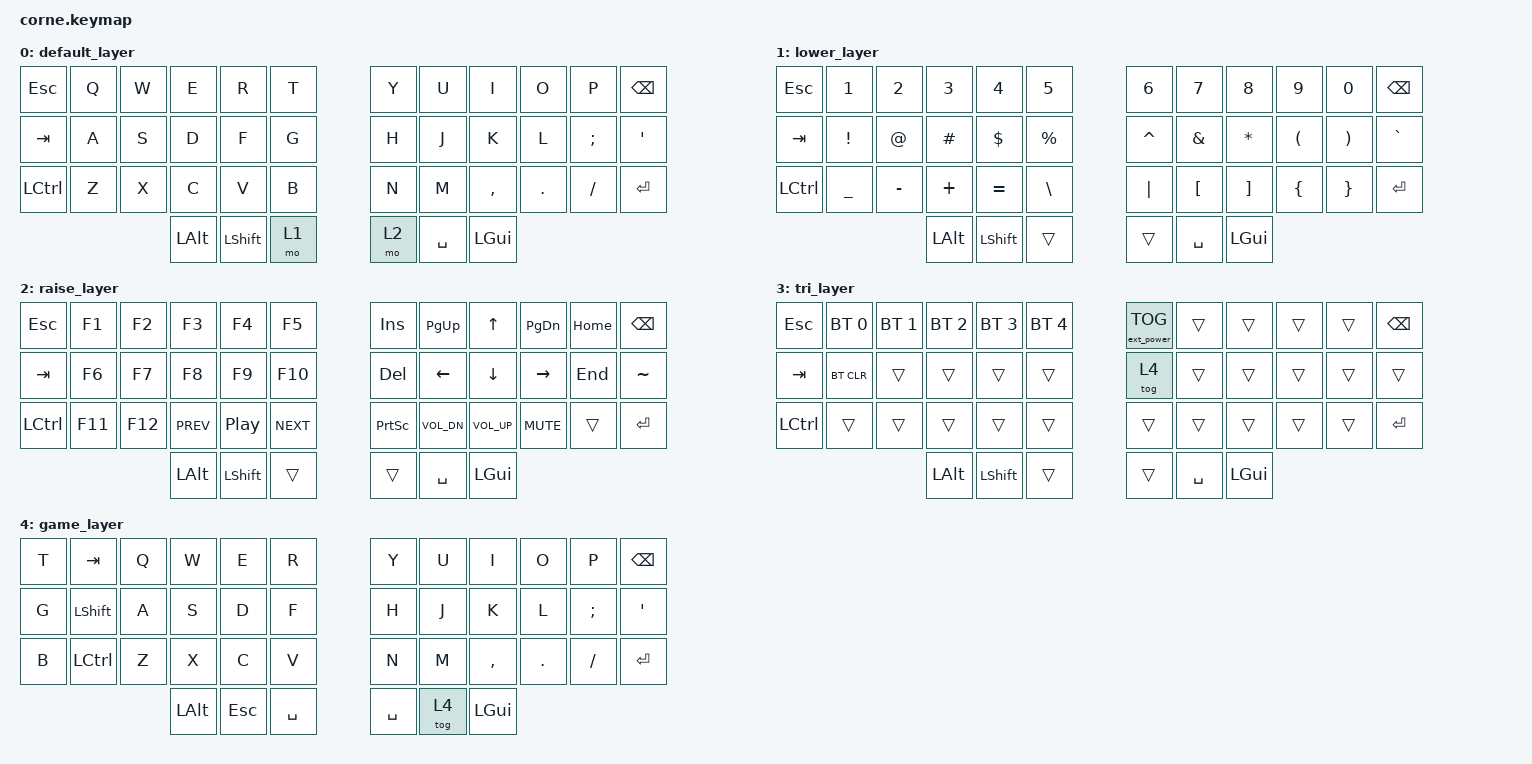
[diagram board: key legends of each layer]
/*
 * Copyright (c) 2020 The ZMK Contributors
 *
 * SPDX-License-Identifier: MIT
 */

#include <behaviors.dtsi>
#include <dt-bindings/zmk/keys.h>
#include <dt-bindings/zmk/bt.h>
#include <dt-bindings/zmk/ext_power.h>

/ {
        conditional_layers {
                compatible = "zmk,conditional-layers";
                tri_layer {
                        if-layers = <1 2>;
                        then-layer = <3>;
                };
        };
        keymap {
                compatible = "zmk,keymap";

                default_layer {
// -----------------------------------------------------------------------------------------
// | ESC |  Q  |  W  |  E  |  R  |  T  |   |  Y  |  U   |  I  |  O  |  P  | BSPC |
// | TAB |  A  |  S  |  D  |  F  |  G  |   |  H  |  J   |  K  |  L  |  ;  |  '   |
// | CTRL|  Z  |  X  |  C  |  V  |  B  |   |  N  |  M   |  ,  |  .  |  /  | ENT  |
//                    | GUI | LWR | SHFT|   | SPC | RSE  | ALT |
                        bindings = <
   &kp ESC   &kp Q &kp W &kp E &kp R &kp T   &kp Y &kp U  &kp I     &kp O   &kp P    &kp BSPC
   &kp TAB   &kp A &kp S &kp D &kp F &kp G   &kp H &kp J  &kp K     &kp L   &kp SEMI &kp SQT
   &kp LCTRL &kp Z &kp X &kp C &kp V &kp B   &kp N &kp M  &kp COMMA &kp DOT &kp FSLH &kp RET
                  &kp LALT &kp LSHFT &mo 1   &mo 2 &kp SPACE &kp LGUI
                        >;
                };
                lower_layer {
// -----------------------------------------------------------------------------------------
// |  TAB |  1  |  2  |  3  |  4  |  5  |   |  6  |  7  |  8  |  9  |  0  | BSPC |
// | BTCLR| BT1 | BT2 | BT3 | BT4 | BT5 |   | LFT | DWN |  UP | RGT |     |      |
// | SHFT |     |     |     |     |     |   |     |     |     |     |     |      |
//                    | GUI |     | SPC |   | ENT |     | ALT |
                        bindings = <
   &kp ESC   &kp N1    &kp N2    &kp N3   &kp N4    &kp N5      &kp N6    &kp N7   &kp N8    &kp N9   &kp N0   &kp BSPC
   &kp TAB   &kp EXCL  &kp AT    &kp HASH &kp DLLR  &kp PRCNT   &kp CARET &kp AMPS &kp ASTRK &kp LPAR &kp RPAR &kp GRAVE
   &kp LCTRL &kp UNDER &kp MINUS &kp PLUS &kp EQUAL &kp BSLH    &kp PIPE  &kp LBKT &kp RBKT  &kp LBRC &kp RBRC &kp RET
                                    &kp LALT &kp LSHFT &trans    &trans   &kp SPACE   &kp LGUI
                        >;
                };

                raise_layer {
// -----------------------------------------------------------------------------------------
// |  TAB |  !  |  @  |  #  |  $  |  %  |   |  ^  |  &  |  *  |  (  |  )  | BSPC |
// | CTRL |     |     |     |     |     |   |  -  |  =  |  [  |  ]  |  \  |  `   |
// | SHFT |     |     |     |     |     |   |  _  |  +  |  {  |  }  | "|" |  ~   |
//                    | GUI |     | SPC |   | ENT |     | ALT |
                        bindings = <
   &kp ESC   &kp F1  &kp F2  &kp F3     &kp F4   &kp F5      &kp INS   &kp PG_UP    &kp UP       &kp PG_DN &kp HOME &kp BSPC
   &kp TAB   &kp F6  &kp F7  &kp F8     &kp F9   &kp F10     &kp DEL   &kp LEFT     &kp DOWN     &kp RIGHT   &kp END  &kp TILDE
   &kp LCTRL &kp F11 &kp F12 &kp C_PREV &kp C_PP &kp C_NEXT  &kp PSCRN &kp C_VOL_DN &kp C_VOL_UP &kp C_MUTE  &trans   &kp RET
                             &kp LALT   &kp LSHFT &trans         &trans &kp SPACE    &kp LGUI
                        >;
                };

                tri_layer {
// -----------------------------------------------------------------------------------------
// |  TAB |  1  |  2  |  3  |  4  |  5  |   |  6  |  7  |  8  |  9  |  0  | BSPC |
// | BTCLR| BT1 | BT2 | BT3 | BT4 | BT5 |   | LFT | DWN |  UP | RGT |     |      |
// | SHFT |     |     |     |     |     |   |     |     |     |     |     |      |
//                    | GUI |     | SPC |   | ENT |     | ALT |
                        bindings = <
   &kp ESC   &bt BT_SEL 0 &bt BT_SEL 1 &bt BT_SEL 2 &bt BT_SEL 3 &bt BT_SEL 4  &ext_power EP_TOG &trans &trans &trans &trans &kp BSPC
   &kp TAB   &bt BT_CLR   &trans       &trans       &trans       &trans        &tog 4 &trans &trans &trans &trans &trans
   &kp LCTRL &trans       &trans       &trans       &trans       &trans        &trans &trans &trans &trans &trans &kp RET
                                    &kp LALT  &kp LSHFT &trans     &trans &kp SPACE    &kp LGUI
                        >;
                };

                game_layer {
// -----------------------------------------------------------------------------------------
// | ESC |  Q  |  W  |  E  |  R  |  T  |   |  Y  |  U   |  I  |  O  |  P  | BSPC |
// | TAB |  A  |  S  |  D  |  F  |  G  |   |  H  |  J   |  K  |  L  |  ;  |  '   |
// | CTRL|  Z  |  X  |  C  |  V  |  B  |   |  N  |  M   |  ,  |  .  |  /  | ENT  |
//                    | GUI | LWR | SHFT|   | SPC | RSE  | ALT |
                        bindings = <
   &kp T   &kp TAB &kp Q &kp W &kp E &kp R   &kp Y &kp U  &kp I     &kp O   &kp P    &kp BSPC
   &kp G   &kp LSHFT &kp A &kp S &kp D &kp F   &kp H &kp J  &kp K     &kp L   &kp SEMI &kp SQT
   &kp B &kp LCTRL &kp Z &kp X &kp C &kp V   &kp N &kp M  &kp COMMA &kp DOT &kp FSLH &kp RET
                  &kp LALT &kp ESC &kp SPACE   &kp SPACE &tog 4 &kp LGUI
                        >;
                };
        };
};
